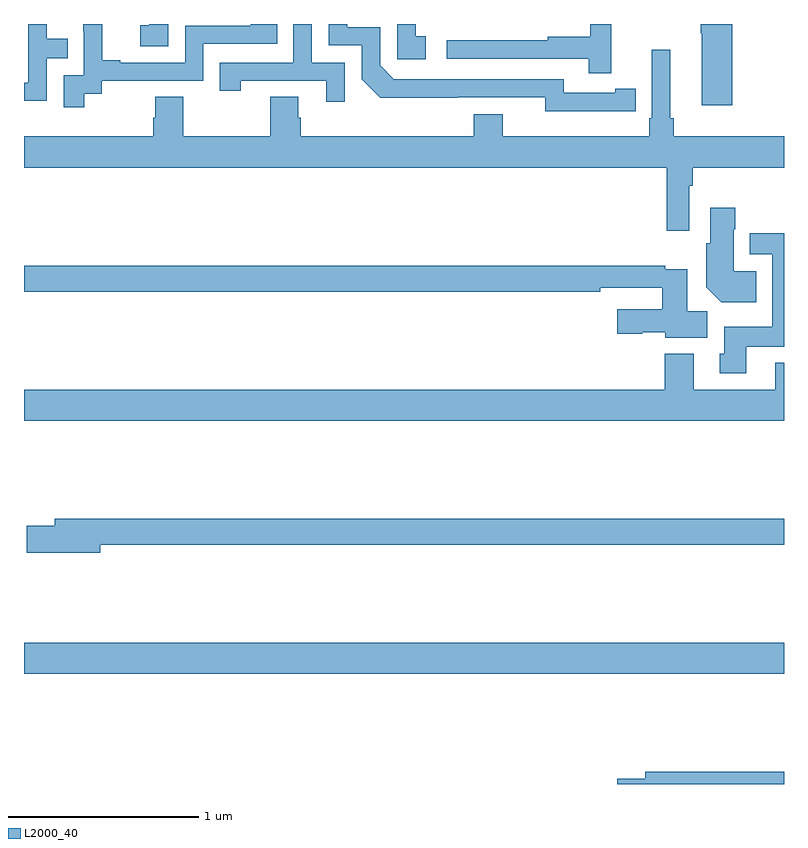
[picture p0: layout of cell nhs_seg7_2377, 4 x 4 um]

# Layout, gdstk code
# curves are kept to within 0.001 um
import gdstk
lib = gdstk.Library(unit=1e-6, precision=1e-09)
def R(c, l, rs):  # rectangles x0, y0, x1, y1
    for r in rs: c.add(gdstk.rectangle(r[:2], r[2:], *l))
def P(c, l, *ps):  # polygons
    for p in ps: c.add(gdstk.Polygon(p, *l))
L2000_40 = (2000, 40)

nhs_seg7_2377 = lib.new_cell('nhs_seg7_2377')
R(nhs_seg7_2377, L2000_40, [(265,1036.58,269,1036.744)])
P(nhs_seg7_2377, L2000_40, [(265.119,1039.821),(265.229,1039.821),(265.229,1039.922),(265.119,1039.922),(265.119,1040),(265.023,1040),(265.023,1039.692),(265,1039.692),(265,1039.596),(265.119,1039.596)],
  [(267.115,1039.935),(267.062,1039.935),(267.062,1040),(266.964,1040),(266.964,1039.815),(267.115,1039.815)],
  [(265.758,1040),(265.66,1040),(265.66,1039.993),(265.611,1039.993),(265.611,1039.884),(265.758,1039.884)],
  [(266.688,1039.797),(266.514,1039.797),(266.514,1040),(266.418,1040),(266.418,1039.797),(266.029,1039.797),(266.029,1039.65),(266.14,1039.65),(266.14,1039.701),(266.591,1039.701),(266.591,1039.59),(266.688,1039.59)],
  [(268.091,1040),(267.981,1040),(267.981,1039.934),(267.757,1039.934),(267.757,1039.914),(267.225,1039.914),(267.225,1039.818),(267.973,1039.818),(267.973,1039.74),(268.091,1039.74)],
  [(268.727,1040),(268.561,1040),(268.561,1039.951),(268.568,1039.951),(268.568,1039.572),(268.727,1039.572)],
  [(268.112,1039.542),(268.22,1039.542),(268.22,1039.658),(268.112,1039.658),(268.112,1039.638),(267.84,1039.638),(267.84,1039.71),(266.946,1039.71),(266.874,1039.782),(266.874,1039.983),(266.701,1039.983),(266.701,1040),(266.604,1040),(266.604,1039.887),(266.778,1039.887),(266.778,1039.71),(266.876,1039.613),(267.744,1039.614),(267.744,1039.541)],
  [(265.318,1039.632),(265.41,1039.632),(265.41,1039.701),(265.944,1039.701),(265.944,1039.896),(266.333,1039.896),(266.333,1040),(266.193,1040),(266.193,1039.992),(265.848,1039.992),(265.848,1039.797),(265.507,1039.797),(265.507,1039.81),(265.412,1039.81),(265.412,1040),(265.313,1040),(265.313,1039.961),(265.314,1039.961),(265.314,1039.731),(265.209,1039.731),(265.209,1039.563),(265.318,1039.563)],
  [(267.368,1039.525),(267.368,1039.408),(266.456,1039.408),(266.456,1039.506),(266.443,1039.506),(266.443,1039.616),(266.296,1039.616),(266.296,1039.408),(265.839,1039.408),(265.839,1039.616),(265.691,1039.616),(265.691,1039.506),(265.679,1039.506),(265.679,1039.408),(265,1039.408),(265,1039.244),(268.384,1039.244),(268.384,1038.912),(268.5,1038.912),(268.5,1039.148),(268.52,1039.148),(268.52,1039.244),(269,1039.244),(269,1039.408),(268.421,1039.408),(268.421,1039.504),(268.402,1039.504),(268.402,1039.864),(268.305,1039.864),(268.305,1039.504),(268.292,1039.504),(268.292,1039.408),(267.52,1039.408),(267.52,1039.525)],
  [(268.853,1038.7),(268.735,1038.7),(268.735,1038.92),(268.743,1038.92),(268.743,1039.033),(268.613,1039.033),(268.613,1038.846),(268.592,1038.846),(268.592,1038.614),(268.67,1038.536),(268.853,1038.536)],
  [(268.801,1038.302),(269,1038.302),(269,1038.898),(268.821,1038.898),(268.821,1038.789),(268.938,1038.789),(268.938,1038.406),(268.685,1038.406),(268.685,1038.264),(268.661,1038.264),(268.661,1038.162),(268.801,1038.162)],
  [(268.597,1038.488),(268.492,1038.488),(268.492,1038.71),(268.376,1038.71),(268.376,1038.728),(265,1038.728),(265,1038.592),(268.034,1038.592),(268.034,1038.612),(268.358,1038.612),(268.358,1038.499),(268.122,1038.499),(268.122,1038.37),(268.254,1038.37),(268.254,1038.377),(268.374,1038.377),(268.374,1038.35),(268.597,1038.35)],
  [(269,1038.217),(268.955,1038.217),(268.955,1038.076),(268.525,1038.076),(268.525,1038.265),(268.373,1038.265),(268.373,1038.076),(265,1038.076),(265,1037.912),(269,1037.912)],
  [(265.402,1037.26),(269,1037.26),(269,1037.396),(265.163,1037.396),(265.163,1037.36),(265.014,1037.36),(265.014,1037.218),(265.402,1037.218)],
  [(269,1036.064),(268.271,1036.064),(268.271,1036.028),(268.122,1036.028),(268.122,1036),(269,1036)])

lib.write_gds('nhs_seg7_2377.gds')
